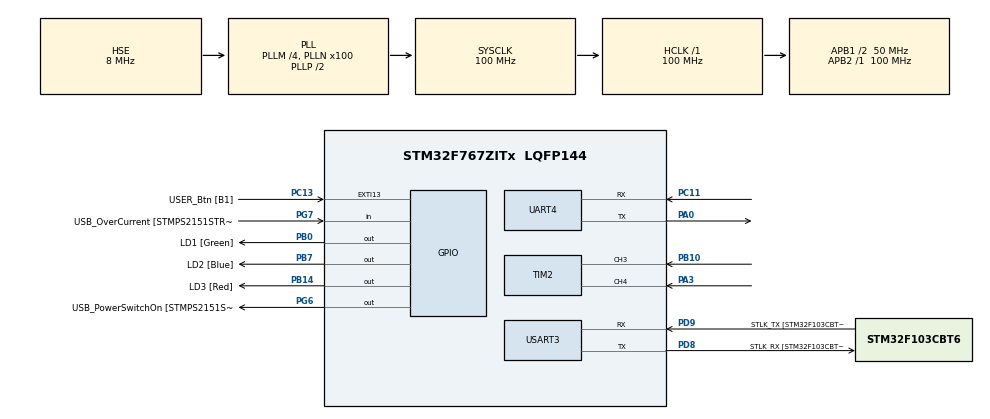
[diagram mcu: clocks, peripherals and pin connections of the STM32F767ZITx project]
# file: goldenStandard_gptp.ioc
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Mcu.Family=STM32F7
Mcu.Name=STM32F767ZITx
Mcu.Package=LQFP144
NVIC.PriorityGroup=NVIC_PRIORITYGROUP_4
NVIC.TIM2_IRQn=true\:0\:0\:false\:false\:true\:true\:true\:true
PA0/WKUP.Mode=Asynchronous
PA0/WKUP.Signal=UART4_TX
PA10.GPIO_Label=USB_ID
PA10.Signal=USB_OTG_FS_ID
PA11.GPIO_Label=USB_DM
PA11.Signal=USB_OTG_FS_DM
PA12.GPIO_Label=USB_DP
PA12.Signal=USB_OTG_FS_DP
PA13.GPIO_Label=TMS
PA13.Mode=Serial_Wire
PA13.Signal=SYS_JTMS-SWDIO
PA14.GPIO_Label=TCK
PA14.Mode=Serial_Wire
PA14.Signal=SYS_JTCK-SWCLK
PA2.GPIO_Label=RMII_MDIO [LAN8742A-CZ-TR_MDIO]
PA2.Signal=ETH_MDIO
PA3.Signal=S_TIM2_CH4
PA7.GPIO_Label=RMII_CRS_DV [LAN8742A-CZ-TR_CRS_DV]
PA7.Signal=ETH_CRS_DV
PA8.GPIO_Label=USB_SOF [TP1]
PA8.Signal=USB_OTG_FS_SOF
PA9.GPIO_Label=USB_VBUS
PA9.Signal=USB_OTG_FS_VBUS
PB0.GPIO_Label=LD1 [Green]
PB0.Signal=GPIO_Output
PB10.Signal=S_TIM2_CH3
PB13.GPIO_Label=RMII_TXD1 [LAN8742A-CZ-TR_TXD1]
PB13.Signal=ETH_TXD1
PB14.GPIO_Label=LD3 [Red]
PB14.Signal=GPIO_Output
PB3.GPIO_Label=SWO
PB3.Signal=SYS_JTDO-SWO
PB7.GPIO_Label=LD2 [Blue]
PB7.Signal=GPIO_Output
PC1.GPIO_Label=RMII_MDC [LAN8742A-CZ-TR_MDC]
PC1.Signal=ETH_MDC
PC11.Mode=Asynchronous
PC11.Signal=UART4_RX
PC13.GPIO_Label=USER_Btn [B1]
PC13.Signal=GPXTI13
PC14/OSC32_IN.Mode=LSE-External-Oscillator
PC14/OSC32_IN.Signal=RCC_OSC32_IN
PC15/OSC32_OUT.Mode=LSE-External-Oscillator
PC15/OSC32_OUT.Signal=RCC_OSC32_OUT
PC4.GPIO_Label=RMII_RXD0 [LAN8742A-CZ-TR_RXD0]
PC4.Signal=ETH_RXD0
PC5.GPIO_Label=RMII_RXD1 [LAN8742A-CZ-TR_RXD1]
PC5.Signal=ETH_RXD1
PD8.GPIO_Label=STLK_RX [STM32F103CBT6_PA3]
PD8.Mode=Asynchronous
PD8.Signal=USART3_TX
PD9.GPIO_Label=STLK_TX [STM32F103CBT6_PA2]
PD9.Mode=Asynchronous
PD9.Signal=USART3_RX
PG11.GPIO_Label=RMII_TX_EN [LAN8742A-CZ-TR_TXEN]
PG11.Signal=ETH_TX_EN
PG13.GPIO_Label=RMII_TXD0 [LAN8742A-CZ-TR_TXD0]
PG13.Signal=ETH_TXD0
PG6.GPIO_Label=USB_PowerSwitchOn [STMPS2151STR_EN]
PG6.Signal=GPIO_Output
PG7.GPIO_Label=USB_OverCurrent [STMPS2151STR_FAULT]
PG7.Signal=GPIO_Input
PH0/OSC_IN.GPIO_Label=MCO [STM32F103CBT6_PA8]
PH0/OSC_IN.Mode=HSE-External-Clock-Source
PH0/OSC_IN.Signal=RCC_OSC_IN
PH1/OSC_OUT.Mode=HSE-External-Clock-Source
PH1/OSC_OUT.Signal=RCC_OSC_OUT
ProjectManager.HeapSize=0x200
ProjectManager.StackSize=0x400
ProjectManager.TargetToolchain=STM32CubeIDE
RCC.48MHZClocksFreq_Value=24000000
RCC.AHBFreq_Value=100000000
RCC.APB1CLKDivider=RCC_HCLK_DIV2
RCC.APB1Freq_Value=50000000
RCC.APB1TimFreq_Value=100000000
RCC.APB2Freq_Value=100000000
RCC.APB2TimFreq_Value=100000000
RCC.CortexFreq_Value=100000000
RCC.HCLKFreq_Value=100000000
RCC.HSE_VALUE=8000000
RCC.HSI_VALUE=16000000
RCC.PLLM=4
RCC.PLLMUL=RCC_PLL_MUL9
RCC.PLLN=100
RCC.PLLQ=4
RCC.PLLSourceVirtual=RCC_PLLSOURCE_HSE
RCC.PRESCALERUSB=RCC_USBCLKSOURCE_PLL_DIV1_5
RCC.SYSCLKFreq_VALUE=100000000
RCC.SYSCLKSource=RCC_SYSCLKSOURCE_PLLCLK
RCC.SYSCLKSourceVirtual=RCC_SYSCLKSOURCE_PLLCLK
RCC.USBFreq_Value=50000000
RCC.VCOOutputFreq_Value=200000000
SH.S_TIM2_CH3.0=TIM2_CH3,Input_Capture3_from_TI3
SH.S_TIM2_CH4.0=TIM2_CH4,Input_Capture4_from_TI4
TIM2.Channel-Input_Capture3_from_TI3=TIM_CHANNEL_3
TIM2.Channel-Input_Capture4_from_TI4=TIM_CHANNEL_4
USART3.VirtualMode-Asynchronous=VM_ASYNC
VP_TIM13_VS_ClockSourceINT.Mode=Enable_Timer
VP_TIM2_VS_ClockSourceINT.Mode=Internal
board=NUCLEO-F767ZI

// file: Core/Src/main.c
/* USER CODE BEGIN Header */
/**
  ******************************************************************************
  * @file           : main.c
  * @brief          : Main program body
  ******************************************************************************
  * @attention
  *
  * Copyright (c) 2022 STMicroelectronics.
  * All rights reserved.
  *
  * This software is licensed under terms that can be found in the LICENSE file
  * in the root directory of this software component.
  * If no LICENSE file comes with this software, it is provided AS-IS.
  *
  ******************************************************************************
  */
/* USER CODE END Header */
#include "main.h"

TIM_HandleTypeDef htim2;
TIM_HandleTypeDef htim13;

UART_HandleTypeDef huart4;
UART_HandleTypeDef huart3;

void SystemClock_Config(void);
static void MX_GPIO_Init(void);
static void MX_USART3_UART_Init(void);
static void MX_TIM13_Init(void);
static void MX_UART4_Init(void);
static void MX_TIM2_Init(void);

/* USER CODE BEGIN 0 */
#define TIMCLOCK   90000000
#define PRESCALAR  90

uint32_t IC_Val1 = 0;
uint32_t IC_Val2 = 0;
uint32_t Difference = 0;
int Is_First_Captured = 0;

unsigned char rxData[10];
unsigned char txData[20];

/* Measure Frequency */
float frequency = 0;

void HAL_TIM_IC_CaptureCallback(TIM_HandleTypeDef *htim)
{
	if (htim->Channel == HAL_TIM_ACTIVE_CHANNEL_3 || htim->Channel == HAL_TIM_ACTIVE_CHANNEL_4)
	{
		if (Is_First_Captured==0) // if the first rising edge is not captured
		{
			if(htim->Channel == HAL_TIM_ACTIVE_CHANNEL_3)
			{
				IC_Val1 = HAL_TIM_ReadCapturedValue(htim, TIM_CHANNEL_3); // read the first value
				HAL_GPIO_TogglePin(GPIOB, GPIO_PIN_0);
			}
			else
			{
				IC_Val1 = HAL_TIM_ReadCapturedValue(htim, TIM_CHANNEL_4); // read the first value
				HAL_GPIO_TogglePin(GPIOB, GPIO_PIN_14);
			}
			Is_First_Captured = 1;  // set the first captured as true
		}
		else   // If the first rising edge is captured, now we will capture the second edge
		{

			if(htim->Channel == HAL_TIM_ACTIVE_CHANNEL_3)
			{
				IC_Val2 = HAL_TIM_ReadCapturedValue(htim, TIM_CHANNEL_3); // read the first value
				HAL_GPIO_TogglePin(GPIOB, GPIO_PIN_0);
			}
			else
			{
				IC_Val2 = HAL_TIM_ReadCapturedValue(htim, TIM_CHANNEL_4); // read the first value
				HAL_GPIO_TogglePin(GPIOB, GPIO_PIN_14);
			}

			//IC_Val2 = HAL_TIM_ReadCapturedValue(htim, TIM_CHANNEL_1); // read second value

			if (IC_Val2 > IC_Val1)
			{
				Difference = (IC_Val2-IC_Val1 );
			}

			else if (IC_Val1 > IC_Val2)
			{
				Difference = (0xffffffff - IC_Val1) + IC_Val2;
			}

			Difference = Difference * 10;

			//float refClock = TIMCLOCK/(PRESCALAR);
			//frequency = refClock/Difference;

			__HAL_TIM_SET_COUNTER(htim, 0);  // reset the counter
			Is_First_Captured = 0; // set it back to false
		}
	}

}
/* USER CODE END 0 */

int main(void)
{

  /* MCU Configuration--------------------------------------------------------*/

  /* Reset of all peripherals, Initializes the Flash interface and the Systick. */
  HAL_Init();

  /* Configure the system clock */
  SystemClock_Config();

  /* Initialize all configured peripherals */
  MX_GPIO_Init();
  MX_USART3_UART_Init();
  MX_TIM13_Init();
  MX_UART4_Init();
  MX_TIM2_Init();

  /* Infinite loop */
  while (1)
  {

    /* USER CODE BEGIN 3 */

	if(HAL_UART_Receive(&huart4, rxData, 1, 5000) == HAL_OK)
	{
		if(rxData[0] == 0x21)
		  {
			txData[0] = (char)0x21;
			if(HAL_UART_Transmit(&huart4,txData,1,100) == HAL_OK)
			{
				HAL_GPIO_TogglePin(GPIOB, GPIO_PIN_7);
			}

			if(Difference > 100000000LL)
			{
				Difference = 0;
			}
			itoa (Difference,txData,10);
			if(HAL_UART_Transmit(&huart4,txData,10,100) == HAL_OK)
			{
				HAL_GPIO_TogglePin(GPIOB, GPIO_PIN_7);
			}
		  }
	}
  }
  /* USER CODE END 3 */
}

void SystemClock_Config(void)
{
  RCC_OscInitTypeDef RCC_OscInitStruct = {0};
  RCC_ClkInitTypeDef RCC_ClkInitStruct = {0};

  /** Configure LSE Drive Capability
  */
  HAL_PWR_EnableBkUpAccess();

  /** Configure the main internal regulator output voltage
  */
  __HAL_RCC_PWR_CLK_ENABLE();
  __HAL_PWR_VOLTAGESCALING_CONFIG(PWR_REGULATOR_VOLTAGE_SCALE3);

  /** Initializes the RCC Oscillators according to the specified parameters
  * in the RCC_OscInitTypeDef structure.
  */
  RCC_OscInitStruct.OscillatorType = RCC_OSCILLATORTYPE_HSE;
  RCC_OscInitStruct.HSEState = RCC_HSE_BYPASS;
  RCC_OscInitStruct.PLL.PLLState = RCC_PLL_ON;
  RCC_OscInitStruct.PLL.PLLSource = RCC_PLLSOURCE_HSE;
  RCC_OscInitStruct.PLL.PLLM = 4;
  RCC_OscInitStruct.PLL.PLLN = 100;
  RCC_OscInitStruct.PLL.PLLP = RCC_PLLP_DIV2;
  RCC_OscInitStruct.PLL.PLLQ = 4;
  RCC_OscInitStruct.PLL.PLLR = 2;
  if (HAL_RCC_OscConfig(&RCC_OscInitStruct) != HAL_OK)
  {
    Error_Handler();
  }

  /** Activate the Over-Drive mode
  */
  if (HAL_PWREx_EnableOverDrive() != HAL_OK)
  {
    Error_Handler();
  }

  /** Initializes the CPU, AHB and APB buses clocks
  */
  RCC_ClkInitStruct.ClockType = RCC_CLOCKTYPE_HCLK|RCC_CLOCKTYPE_SYSCLK
                              |RCC_CLOCKTYPE_PCLK1|RCC_CLOCKTYPE_PCLK2;
  RCC_ClkInitStruct.SYSCLKSource = RCC_SYSCLKSOURCE_PLLCLK;
  RCC_ClkInitStruct.AHBCLKDivider = RCC_SYSCLK_DIV1;
  RCC_ClkInitStruct.APB1CLKDivider = RCC_HCLK_DIV2;
  RCC_ClkInitStruct.APB2CLKDivider = RCC_HCLK_DIV1;

  if (HAL_RCC_ClockConfig(&RCC_ClkInitStruct, FLASH_LATENCY_3) != HAL_OK)
  {
    Error_Handler();
  }
}

static void MX_TIM2_Init(void)
{

  TIM_ClockConfigTypeDef sClockSourceConfig = {0};
  TIM_MasterConfigTypeDef sMasterConfig = {0};
  TIM_IC_InitTypeDef sConfigIC = {0};

  htim2.Instance = TIM2;
  htim2.Init.Prescaler = 0;
  htim2.Init.CounterMode = TIM_COUNTERMODE_UP;
  htim2.Init.Period = 4294967295;
  htim2.Init.ClockDivision = TIM_CLOCKDIVISION_DIV1;
  htim2.Init.AutoReloadPreload = TIM_AUTORELOAD_PRELOAD_DISABLE;
  if (HAL_TIM_Base_Init(&htim2) != HAL_OK)
  {
    Error_Handler();
  }
  sClockSourceConfig.ClockSource = TIM_CLOCKSOURCE_INTERNAL;
  if (HAL_TIM_ConfigClockSource(&htim2, &sClockSourceConfig) != HAL_OK)
  {
    Error_Handler();
  }
  if (HAL_TIM_IC_Init(&htim2) != HAL_OK)
  {
    Error_Handler();
  }
  sMasterConfig.MasterOutputTrigger = TIM_TRGO_RESET;
  sMasterConfig.MasterSlaveMode = TIM_MASTERSLAVEMODE_DISABLE;
  if (HAL_TIMEx_MasterConfigSynchronization(&htim2, &sMasterConfig) != HAL_OK)
  {
    Error_Handler();
  }
  sConfigIC.ICPolarity = TIM_INPUTCHANNELPOLARITY_RISING;
  sConfigIC.ICSelection = TIM_ICSELECTION_DIRECTTI;
  sConfigIC.ICPrescaler = TIM_ICPSC_DIV1;
  sConfigIC.ICFilter = 0;
  if (HAL_TIM_IC_ConfigChannel(&htim2, &sConfigIC, TIM_CHANNEL_3) != HAL_OK)
  {
    Error_Handler();
  }
  if (HAL_TIM_IC_ConfigChannel(&htim2, &sConfigIC, TIM_CHANNEL_4) != HAL_OK)
  {
    Error_Handler();
  }
  /* USER CODE BEGIN TIM2_Init 2 */
  HAL_TIM_IC_Start_IT(&htim2, TIM_CHANNEL_3);
  HAL_TIM_IC_Start_IT(&htim2, TIM_CHANNEL_4);
  /* USER CODE END TIM2_Init 2 */

}

static void MX_TIM13_Init(void)
{

  htim13.Instance = TIM13;
  htim13.Init.Prescaler = 0;
  htim13.Init.CounterMode = TIM_COUNTERMODE_UP;
  htim13.Init.Period = 65535;
  htim13.Init.ClockDivision = TIM_CLOCKDIVISION_DIV1;
  htim13.Init.AutoReloadPreload = TIM_AUTORELOAD_PRELOAD_DISABLE;
  if (HAL_TIM_Base_Init(&htim13) != HAL_OK)
  {
    Error_Handler();
  }

}

static void MX_UART4_Init(void)
{

  huart4.Instance = UART4;
  huart4.Init.BaudRate = 115200;
  huart4.Init.WordLength = UART_WORDLENGTH_8B;
  huart4.Init.StopBits = UART_STOPBITS_1;
  huart4.Init.Parity = UART_PARITY_NONE;
  huart4.Init.Mode = UART_MODE_TX_RX;
  huart4.Init.HwFlowCtl = UART_HWCONTROL_NONE;
  huart4.Init.OverSampling = UART_OVERSAMPLING_16;
  huart4.Init.OneBitSampling = UART_ONE_BIT_SAMPLE_DISABLE;
  huart4.AdvancedInit.AdvFeatureInit = UART_ADVFEATURE_NO_INIT;
  if (HAL_UART_Init(&huart4) != HAL_OK)
  {
    Error_Handler();
  }

}

static void MX_USART3_UART_Init(void)
{

  huart3.Instance = USART3;
  huart3.Init.BaudRate = 115200;
  huart3.Init.WordLength = UART_WORDLENGTH_8B;
  huart3.Init.StopBits = UART_STOPBITS_1;
  huart3.Init.Parity = UART_PARITY_NONE;
  huart3.Init.Mode = UART_MODE_TX_RX;
  huart3.Init.HwFlowCtl = UART_HWCONTROL_NONE;
  huart3.Init.OverSampling = UART_OVERSAMPLING_16;
  huart3.Init.OneBitSampling = UART_ONE_BIT_SAMPLE_DISABLE;
  huart3.AdvancedInit.AdvFeatureInit = UART_ADVFEATURE_NO_INIT;
  if (HAL_UART_Init(&huart3) != HAL_OK)
  {
    Error_Handler();
  }

}

static void MX_GPIO_Init(void)
{
  GPIO_InitTypeDef GPIO_InitStruct = {0};

  /* GPIO Ports Clock Enable */
  __HAL_RCC_GPIOC_CLK_ENABLE();
  __HAL_RCC_GPIOH_CLK_ENABLE();
  __HAL_RCC_GPIOA_CLK_ENABLE();
  __HAL_RCC_GPIOB_CLK_ENABLE();
  __HAL_RCC_GPIOD_CLK_ENABLE();
  __HAL_RCC_GPIOG_CLK_ENABLE();

  /*Configure GPIO pin Output Level */
  HAL_GPIO_WritePin(GPIOB, LD1_Pin|LD3_Pin|LD2_Pin, GPIO_PIN_RESET);

  /*Configure GPIO pin Output Level */
  HAL_GPIO_WritePin(USB_PowerSwitchOn_GPIO_Port, USB_PowerSwitchOn_Pin, GPIO_PIN_RESET);

  /*Configure GPIO pin : USER_Btn_Pin */
  GPIO_InitStruct.Pin = USER_Btn_Pin;
  GPIO_InitStruct.Mode = GPIO_MODE_IT_RISING;
  GPIO_InitStruct.Pull = GPIO_NOPULL;
  HAL_GPIO_Init(USER_Btn_GPIO_Port, &GPIO_InitStruct);

  /*Configure GPIO pins : RMII_MDC_Pin RMII_RXD0_Pin RMII_RXD1_Pin */
  GPIO_InitStruct.Pin = RMII_MDC_Pin|RMII_RXD0_Pin|RMII_RXD1_Pin;
  GPIO_InitStruct.Mode = GPIO_MODE_AF_PP;
  GPIO_InitStruct.Pull = GPIO_NOPULL;
  GPIO_InitStruct.Speed = GPIO_SPEED_FREQ_VERY_HIGH;
  GPIO_InitStruct.Alternate = GPIO_AF11_ETH;
  HAL_GPIO_Init(GPIOC, &GPIO_InitStruct);

  /*Configure GPIO pins : RMII_MDIO_Pin RMII_CRS_DV_Pin */
  GPIO_InitStruct.Pin = RMII_MDIO_Pin|RMII_CRS_DV_Pin;
  GPIO_InitStruct.Mode = GPIO_MODE_AF_PP;
  GPIO_InitStruct.Pull = GPIO_NOPULL;
  GPIO_InitStruct.Speed = GPIO_SPEED_FREQ_VERY_HIGH;
  GPIO_InitStruct.Alternate = GPIO_AF11_ETH;
  HAL_GPIO_Init(GPIOA, &GPIO_InitStruct);

  /*Configure GPIO pins : LD1_Pin LD3_Pin LD2_Pin */
  GPIO_InitStruct.Pin = LD1_Pin|LD3_Pin|LD2_Pin;
  GPIO_InitStruct.Mode = GPIO_MODE_OUTPUT_PP;
  GPIO_InitStruct.Pull = GPIO_NOPULL;
  GPIO_InitStruct.Speed = GPIO_SPEED_FREQ_LOW;
  HAL_GPIO_Init(GPIOB, &GPIO_InitStruct);

  /*Configure GPIO pin : RMII_TXD1_Pin */
  GPIO_InitStruct.Pin = RMII_TXD1_Pin;
  GPIO_InitStruct.Mode = GPIO_MODE_AF_PP;
  GPIO_InitStruct.Pull = GPIO_NOPULL;
  GPIO_InitStruct.Speed = GPIO_SPEED_FREQ_VERY_HIGH;
  GPIO_InitStruct.Alternate = GPIO_AF11_ETH;
  HAL_GPIO_Init(RMII_TXD1_GPIO_Port, &GPIO_InitStruct);

  /*Configure GPIO pin : USB_PowerSwitchOn_Pin */
  GPIO_InitStruct.Pin = USB_PowerSwitchOn_Pin;
  GPIO_InitStruct.Mode = GPIO_MODE_OUTPUT_PP;
  GPIO_InitStruct.Pull = GPIO_NOPULL;
  GPIO_InitStruct.Speed = GPIO_SPEED_FREQ_LOW;
  HAL_GPIO_Init(USB_PowerSwitchOn_GPIO_Port, &GPIO_InitStruct);

  /*Configure GPIO pin : USB_OverCurrent_Pin */
  GPIO_InitStruct.Pin = USB_OverCurrent_Pin;
  GPIO_InitStruct.Mode = GPIO_MODE_INPUT;
  GPIO_InitStruct.Pull = GPIO_NOPULL;
  HAL_GPIO_Init(USB_OverCurrent_GPIO_Port, &GPIO_InitStruct);

  /*Configure GPIO pins : USB_SOF_Pin USB_ID_Pin USB_DM_Pin USB_DP_Pin */
  GPIO_InitStruct.Pin = USB_SOF_Pin|USB_ID_Pin|USB_DM_Pin|USB_DP_Pin;
  GPIO_InitStruct.Mode = GPIO_MODE_AF_PP;
  GPIO_InitStruct.Pull = GPIO_NOPULL;
  GPIO_InitStruct.Speed = GPIO_SPEED_FREQ_VERY_HIGH;
  GPIO_InitStruct.Alternate = GPIO_AF10_OTG_FS;
  HAL_GPIO_Init(GPIOA, &GPIO_InitStruct);

  /*Configure GPIO pin : USB_VBUS_Pin */
  GPIO_InitStruct.Pin = USB_VBUS_Pin;
  GPIO_InitStruct.Mode = GPIO_MODE_INPUT;
  GPIO_InitStruct.Pull = GPIO_NOPULL;
  HAL_GPIO_Init(USB_VBUS_GPIO_Port, &GPIO_InitStruct);

  /*Configure GPIO pins : RMII_TX_EN_Pin RMII_TXD0_Pin */
  GPIO_InitStruct.Pin = RMII_TX_EN_Pin|RMII_TXD0_Pin;
  GPIO_InitStruct.Mode = GPIO_MODE_AF_PP;
  GPIO_InitStruct.Pull = GPIO_NOPULL;
  GPIO_InitStruct.Speed = GPIO_SPEED_FREQ_VERY_HIGH;
  GPIO_InitStruct.Alternate = GPIO_AF11_ETH;
  HAL_GPIO_Init(GPIOG, &GPIO_InitStruct);

}

void Error_Handler(void)
{
  __disable_irq();
  while (1)
  {
  }
}
